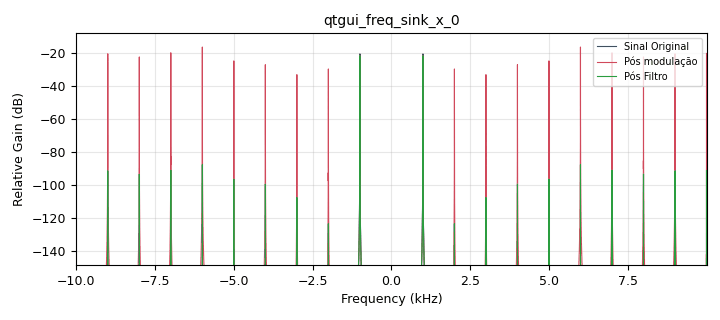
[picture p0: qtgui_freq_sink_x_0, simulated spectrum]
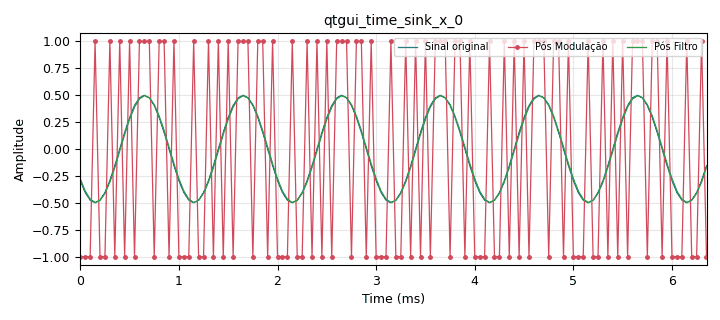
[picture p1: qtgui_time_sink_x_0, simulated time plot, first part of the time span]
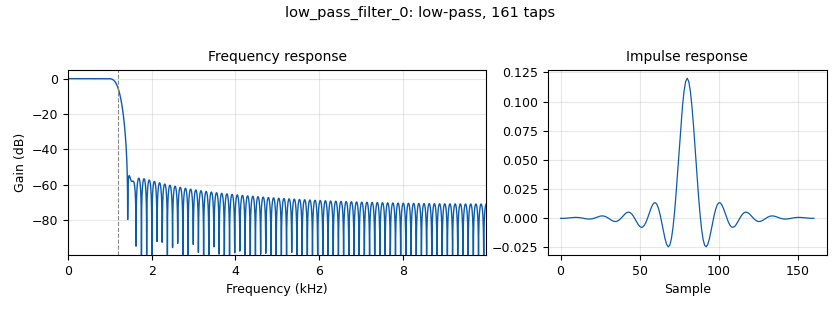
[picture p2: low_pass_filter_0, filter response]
options:
  parameters:
    author: vitor
    generate_options: qt_gui
    id: testeSigmaDelta
    output_language: python
    title: Not titled yet
  states: {}

blocks:
- name: samp_rate
  id: variable
  parameters:
    value: '20000'
  states: {}
- name: variable_qtgui_range_0
  id: variable_qtgui_range
  parameters:
    start: '0.5'
    step: '0.1'
    stop: '1.5'
    value: '0.5'
  states: {}
- name: analog_sig_source_x_0
  id: analog_sig_source_x
  parameters:
    amp: variable_qtgui_range_0
    freq: '1000'
    offset: '0'
    phase: '0'
    samp_rate: samp_rate
    type: float
    waveform: analog.GR_SIN_WAVE
  states: {}
- name: blocks_float_to_complex_0
  id: blocks_float_to_complex
  parameters: {}
  states: {state: disabled}
- name: epy_block_0
  id: epy_block
  parameters:
    _source_code: |
      import numpy as np
      from gnuradio import gr

      class blk(gr.sync_block):
          def __init__(self):
              gr.sync_block.__init__(
                  self,
                  name="Sigma-Delta 1st Ordem",
                  in_sig=[np.float32],
                  out_sig=[np.float32]
              )
              # Estados internos
              self.integrator = 0.0
              self.feedback = 0.0

          def work(self, input_items, output_items):
              x = input_items[0]
              y = output_items[0]

              for i in range(len(x)):
                  # Integra o erro
                  self.integrator += x[i] - self.feedback

                  # Quantizador 1-bit
                  if self.integrator >= 0:
                      y[i] = 1.0
                  else:
                      y[i] = -1.0

                  # Feedback
                  self.feedback = y[i]

              return len(y)
  states: {}
- name: low_pass_filter_0
  id: low_pass_filter
  parameters:
    cutoff_freq: '1200'
    decim: '1'
    gain: '1'
    samp_rate: samp_rate
    type: fir_filter_fff
    width: '300'
    win: window.WIN_HAMMING
  states: {}
- name: qtgui_const_sink_x_0
  id: qtgui_const_sink_x
  parameters:
    alpha1: '5.0'
    autoscale: 'True'
    color1: '"red"'
    grid: 'True'
    marker1: '1'
    size: '1024'
    type: complex
    width1: '5'
  states: {state: disabled}
- name: qtgui_freq_sink_x_0
  id: qtgui_freq_sink_x
  parameters:
    autoscale: 'True'
    bw: samp_rate
    color2: '"dark blue"'
    ctrlpanel: 'True'
    fc: '0'
    fftsize: '32768'
    grid: 'True'
    label1: Sinal Original
    label2: Pós modulação
    label3: Pós Filtro
    nconnections: '3'
    type: float
    wintype: window.WIN_BLACKMAN
  states: {}
- name: qtgui_histogram_sink_x_0
  id: qtgui_histogram_sink_x
  parameters:
    autoscale: 'False'
    bins: '50'
    size: '1024'
    type: float
    xmax: '1.2'
    xmin: '-1.2'
  states: {state: disabled}
- name: qtgui_time_sink_x_0
  id: qtgui_time_sink_x
  parameters:
    ctrlpanel: 'True'
    label1: Sinal original
    label2: Pós Modulação
    label3: Pós Filtro
    marker2: '0'
    nconnections: '3'
    size: '2048'
    srate: samp_rate
    style2: '3'
    type: float
    update_time: '0.1'
  states: {}

connections:
- [analog_sig_source_x_0, '0', epy_block_0, '0']
- [analog_sig_source_x_0, '0', qtgui_freq_sink_x_0, '0']
- [analog_sig_source_x_0, '0', qtgui_time_sink_x_0, '0']
- [blocks_float_to_complex_0, '0', qtgui_const_sink_x_0, '0']
- [epy_block_0, '0', blocks_float_to_complex_0, '0']
- [epy_block_0, '0', low_pass_filter_0, '0']
- [epy_block_0, '0', qtgui_freq_sink_x_0, '1']
- [epy_block_0, '0', qtgui_histogram_sink_x_0, '0']
- [epy_block_0, '0', qtgui_time_sink_x_0, '1']
- [low_pass_filter_0, '0', qtgui_freq_sink_x_0, '2']
- [low_pass_filter_0, '0', qtgui_time_sink_x_0, '2']

metadata:
  file_format: 1
  grc_version: 3.10.12.0
